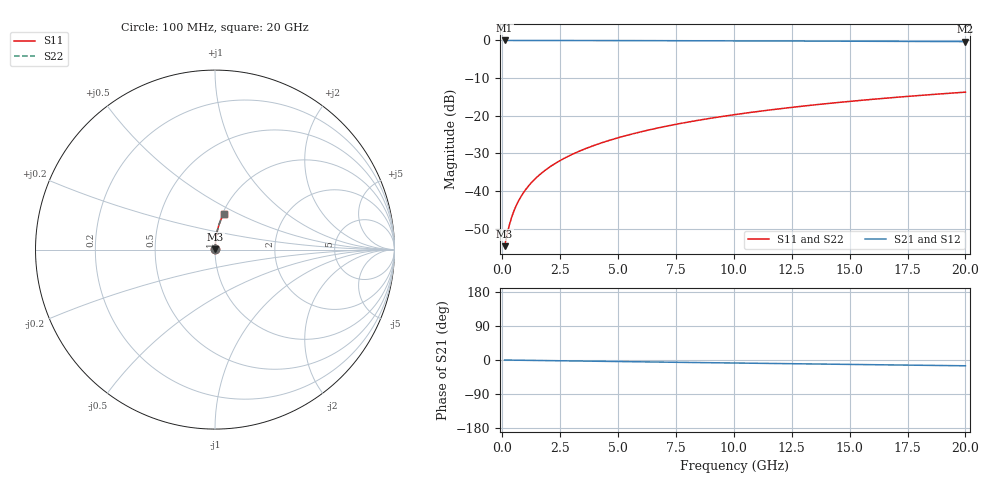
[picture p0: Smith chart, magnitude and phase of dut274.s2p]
! Touchstone file exported from HFSS 2024.1.0
!  File:  C:/UserFiles/LocalFiles/RDL_TSV_Batchsim/temp_RDL_top_274_1778689813.aedt
!  Generated:  12:32:58 AM May 14, 2026
!  Design:  RDL_top
!  Project:  temp_RDL_top_274_1778689813
!  Setup:  Setup1
!  Solution:  Sweep
! Variables:
!  dtsv = 10.80580581um
!  hbump = 3um
!  htsv = 89.55um
!  ldown = 100um
!  lrdl = 146.87um
!  p = 40
!  p1 = 50.9um
!  rhole = 1um
!  t = 450um
!  tdown = 3.915915916um
!  trdl = 2.99um
!  wdown = 15.38538539um
!  wrdl = 13.08um
# GHz S MA R 50.000000
! Terminal data exported
! Port[1] = Box2_T1
! Port[2] = Box2_T2
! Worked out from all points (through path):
!   200 points, 100 MHz to 20 GHz, reference 50 ohm
!   highest |S21| = -0.01 dB at 100 MHz (marker M1); lowest = -0.3 dB at 20 GHz (marker M2)
!   group delay of S21, straight-line fit = 2.11 ps
!   lowest |S11| = -54.6 dB at 100 MHz (marker M3), VSWR 1.00, Z = 50.2 + j0.105 ohm
!   |S11| at or under -10 dB: start of sweep to end of sweep
!   |S22| runs from -54.6 to -13.7 dB; largest |S21 - S12| = 4.3e-15
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0.1  0.001862 34.4  0.9985 -0.1  0.9985 -0.1  0.001862 34.4
! Gamma 0 0 0 0
! Port Impedance 50 0 50 0
0.2  0.002611 53.4  0.9984 -0.2  0.9984 -0.2  0.002611 53.4
0.3  0.003511 63.2  0.9984 -0.3  0.9984 -0.3  0.003511 63.2
0.4  0.004465 68.8  0.9984 -0.3  0.9984 -0.3  0.004465 68.8
0.5  0.005439 72.3  0.9983 -0.4  0.9983 -0.4  0.005439 72.3
0.6  0.006422 74.8  0.9983 -0.5  0.9983 -0.5  0.006422 74.8
0.8  0.0084 78.0  0.9982 -0.7  0.9982 -0.7  0.0084 78.0
1.1  0.01139 80.8  0.9981 -0.9  0.9981 -0.9  0.01139 80.8
1.5  0.01539 82.8  0.9979 -1.2  0.9979 -1.2  0.01539 82.8
1.8  0.01841 83.7  0.9977 -1.5  0.9977 -1.5  0.01841 83.7
2.1  0.02144 84.3  0.9975 -1.7  0.9975 -1.7  0.02144 84.3
2.7  0.02752 85.0  0.9971 -2.2  0.9971 -2.2  0.02752 85.0
3.5  0.03567 85.4  0.9964 -2.9  0.9964 -2.9  0.03567 85.4
4.2  0.04284 85.5  0.9956 -3.4  0.9956 -3.4  0.04284 85.5
5  0.05108 85.5  0.9947 -4.1  0.9947 -4.1  0.05108 85.5
5.9  0.06039 85.2  0.9934 -4.8  0.9934 -4.8  0.06039 85.2
6.8  0.06975 84.9  0.992 -5.5  0.992 -5.5  0.06975 84.9
8.3  0.08541 84.2  0.9895 -6.7  0.9895 -6.7  0.08541 84.2
10.1  0.1043 83.1  0.9862 -8.0  0.9862 -8.0  0.1043 83.1
13.4  0.1387 80.9  0.9795 -10.5  0.9795 -10.5  0.1387 80.9
16.7  0.1726 78.5  0.9722 -12.9  0.9722 -12.9  0.1726 78.5
20  0.2058 76.1  0.9641 -15.3  0.9641 -15.3  0.2058 76.1
